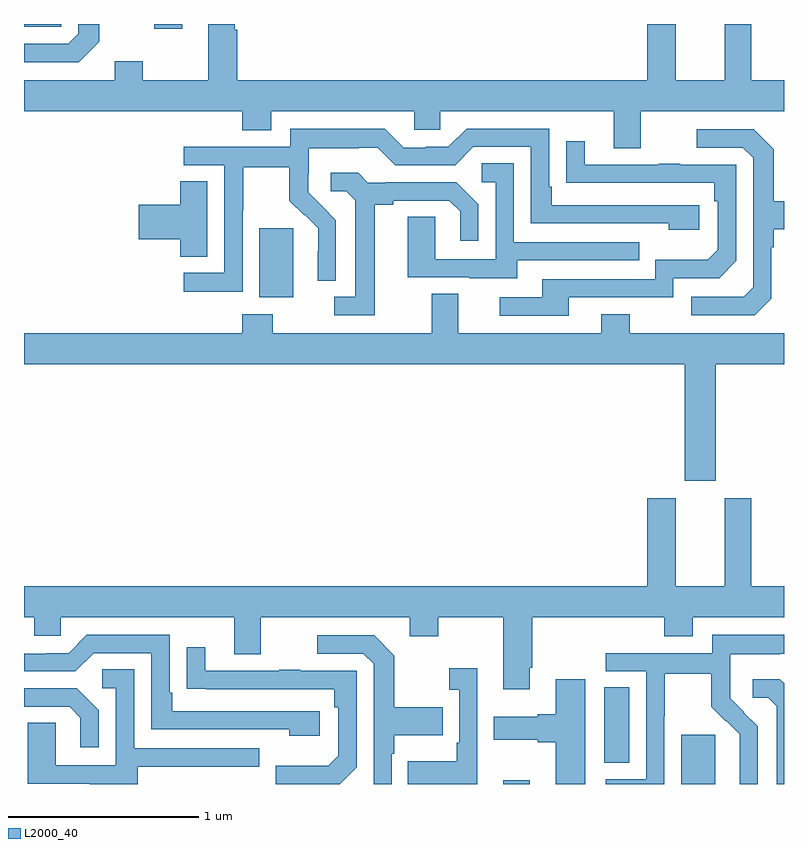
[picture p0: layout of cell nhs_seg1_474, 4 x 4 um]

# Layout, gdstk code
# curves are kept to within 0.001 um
import gdstk
lib = gdstk.Library(unit=1e-6, precision=1e-09)
def R(c, l, rs):  # rectangles x0, y0, x1, y1
    for r in rs: c.add(gdstk.rectangle(r[:2], r[2:], *l))
def P(c, l, *ps):  # polygons
    for p in ps: c.add(gdstk.Polygon(p, *l))
L2000_40 = (2000, 40)

nhs_seg1_474 = lib.new_cell('nhs_seg1_474')
R(nhs_seg1_474, L2000_40, [(139.523,540.199,139.663,540.22), (140.459,540.199,140.638,540.459), (140.054,540.31,140.185,540.707), (138.239,542.762,138.418,543.123), (137.685,544.173,137.833,544.199), (137,544.185,137.196,544.199)])
P(nhs_seg1_474, L2000_40, [(137.969,544.199),(137.969,543.904),(137.625,543.904),(137.625,544.003),(137.477,544.003),(137.477,543.904),(137,543.904),(137,543.74),(138.149,543.74),(138.149,543.641),(138.301,543.641),(138.301,543.74),(139.053,543.74),(139.053,543.642),(139.191,543.642),(139.191,543.74),(140.105,543.74),(140.105,543.546),(140.245,543.546),(140.245,543.74),(141,543.74),(141,543.904),(140.827,543.904),(140.827,544.199),(140.687,544.199),(140.687,543.904),(140.431,543.904),(140.431,544.199),(140.279,544.199),(140.279,543.904),(138.122,543.904),(138.122,544.169),(138.109,544.169),(138.109,544.199)],
  [(137.395,544.105),(137.395,544.199),(137.286,544.199),(137.286,544.149),(137.232,544.095),(137,544.095),(137,543.999),(137.289,543.999)],
  [(138.15,543.22),(138.153,543.22),(138.153,543.444),(138.397,543.444),(138.397,543.269),(138.474,543.192),(138.477,543.195),(138.548,543.125),(138.548,543.002),(138.546,543.002),(138.546,542.848),(138.642,542.848),(138.642,543.166),(138.496,543.314),(138.496,543.411),(138.498,543.411),(138.498,543.545),(138.761,543.545),(138.761,543.549),(138.861,543.549),(138.954,543.456),(139.269,543.456),(139.365,543.552),(139.668,543.552),(139.668,543.15),(140.393,543.15),(140.393,543.116),(140.554,543.116),(140.554,543.246),(139.777,543.246),(139.777,543.343),(139.764,543.343),(139.764,543.648),(139.329,543.648),(139.233,543.552),(139.115,543.552),(139.115,543.549),(138.999,543.549),(138.899,543.649),(138.402,543.649),(138.402,543.552),(137.841,543.552),(137.841,543.456),(138.054,543.456),(138.054,542.889),(137.841,542.889),(137.841,542.791),(138.15,542.791)],
  [(140.934,542.754),(140.934,543.023),(140.947,543.023),(140.947,543.119),(141,543.119),(141,543.267),(140.947,543.267),(140.947,543.539),(140.841,543.645),(140.541,543.645),(140.541,543.549),(140.784,543.549),(140.838,543.495),(140.838,542.814),(140.787,542.763),(140.511,542.763),(140.511,542.667),(140.847,542.667)],
  [(139.867,542.76),(140.418,542.76),(140.418,542.862),(140.658,542.862),(140.748,542.952),(140.748,543.459),(140.453,543.459),(140.453,543.464),(140.341,543.464),(140.341,543.459),(139.951,543.459),(139.951,543.583),(139.855,543.583),(139.855,543.364),(140.632,543.363),(140.632,543.266),(140.652,543.266),(140.652,543.012),(140.599,542.959),(140.322,542.959),(140.322,542.856),(139.727,542.856),(139.727,542.76),(139.503,542.76),(139.503,542.664),(139.867,542.664)],
  [(139.597,542.955),(140.237,542.955),(140.237,543.051),(139.578,543.051),(139.578,543.467),(139.41,543.467),(139.41,543.366),(139.482,543.366),(139.482,542.961),(139.164,542.961),(139.164,543.185),(139.019,543.185),(139.019,542.865),(139.343,542.865),(139.343,542.861),(139.597,542.861)],
  [(138.847,543.248),(138.943,543.248),(138.943,543.27),(139.238,543.27),(139.295,543.213),(139.295,543.057),(139.392,543.057),(139.392,543.25),(139.276,543.366),(138.904,543.366),(138.904,543.363),(138.81,543.363),(138.758,543.415),(138.615,543.415),(138.615,543.318),(138.696,543.318),(138.743,543.271),(138.743,542.763),(138.633,542.763),(138.633,542.667),(138.847,542.667)],
  [(137.965,543.371),(137.822,543.371),(137.822,543.248),(137.604,543.248),(137.604,543.065),(137.822,543.065),(137.822,542.974),(137.965,542.974)],
  [(140.641,542.408),(141,542.408),(141,542.572),(140.187,542.572),(140.187,542.671),(140.039,542.671),(140.039,542.572),(139.285,542.572),(139.285,542.78),(139.145,542.78),(139.145,542.572),(138.309,542.572),(138.309,542.671),(138.149,542.671),(138.149,542.572),(137,542.572),(137,542.408),(140.477,542.408),(140.477,541.794),(140.641,541.794)],
  [(140.521,541.076),(141,541.076),(141,541.24),(140.827,541.24),(140.827,541.702),(140.687,541.702),(140.687,541.24),(140.431,541.24),(140.431,541.702),(140.279,541.702),(140.279,541.24),(137,541.24),(137,541.076),(137.055,541.076),(137.055,540.978),(137.193,540.978),(137.193,541.076),(138.107,541.076),(138.107,540.882),(138.247,540.882),(138.247,541.076),(139.031,541.076),(139.031,540.977),(139.179,540.977),(139.179,541.076),(139.523,541.076),(139.523,540.699),(139.663,540.699),(139.663,540.811),(139.676,540.811),(139.676,541.076),(140.369,541.076),(140.369,540.977),(140.521,540.977)],
  [(140.37,540.556),(140.373,540.556),(140.373,540.78),(140.617,540.78),(140.617,540.605),(140.694,540.528),(140.697,540.531),(140.768,540.461),(140.768,540.338),(140.766,540.338),(140.766,540.199),(140.862,540.199),(140.862,540.502),(140.716,540.65),(140.716,540.747),(140.718,540.747),(140.718,540.881),(140.981,540.881),(140.981,540.885),(141,540.885),(141,540.985),(140.622,540.985),(140.622,540.888),(140.061,540.888),(140.061,540.792),(140.274,540.792),(140.274,540.225),(140.061,540.225),(140.061,540.199),(140.37,540.199)],
  [(138.556,540.582),(137.779,540.582),(137.779,540.679),(137.766,540.679),(137.766,540.984),(137.331,540.984),(137.235,540.888),(137.117,540.888),(137.117,540.885),(137,540.886),(137,540.792),(137.271,540.792),(137.367,540.888),(137.67,540.888),(137.67,540.486),(138.395,540.486),(138.395,540.452),(138.556,540.452)],
  [(138.936,540.359),(138.949,540.359),(138.949,540.455),(139.205,540.455),(139.205,540.603),(138.949,540.603),(138.949,540.875),(138.843,540.981),(138.543,540.981),(138.543,540.885),(138.786,540.885),(138.84,540.831),(138.84,540.199),(138.936,540.199)],
  [(138.75,540.288),(138.75,540.795),(138.455,540.795),(138.455,540.8),(138.343,540.8),(138.343,540.795),(137.953,540.795),(137.953,540.919),(137.857,540.919),(137.857,540.7),(138.634,540.699),(138.634,540.602),(138.654,540.602),(138.654,540.348),(138.601,540.295),(138.324,540.295),(138.324,540.199),(138.661,540.199)],
  [(139.386,540.808),(139.239,540.808),(139.239,540.695),(139.29,540.695),(139.29,540.415),(139.278,540.415),(139.278,540.319),(139.021,540.319),(139.021,540.199),(139.386,540.199)],
  [(137.599,540.291),(138.239,540.291),(138.239,540.387),(137.58,540.387),(137.58,540.803),(137.412,540.803),(137.412,540.702),(137.484,540.702),(137.484,540.297),(137.166,540.297),(137.166,540.521),(137.021,540.521),(137.021,540.201),(137.345,540.201),(137.345,540.199),(137.599,540.199)],
  [(139.954,540.751),(139.799,540.751),(139.799,540.566),(139.703,540.566),(139.703,540.553),(139.473,540.553),(139.473,540.431),(139.703,540.431),(139.703,540.419),(139.799,540.419),(139.799,540.199),(139.954,540.199)],
  [(141,540.729),(140.978,540.751),(140.835,540.751),(140.835,540.654),(140.916,540.654),(140.963,540.607),(140.963,540.199),(141,540.199)],
  [(137.394,540.586),(137.278,540.702),(137,540.702),(137,540.606),(137.24,540.606),(137.297,540.549),(137.297,540.393),(137.394,540.393)])

lib.write_gds('nhs_seg1_474.gds')
